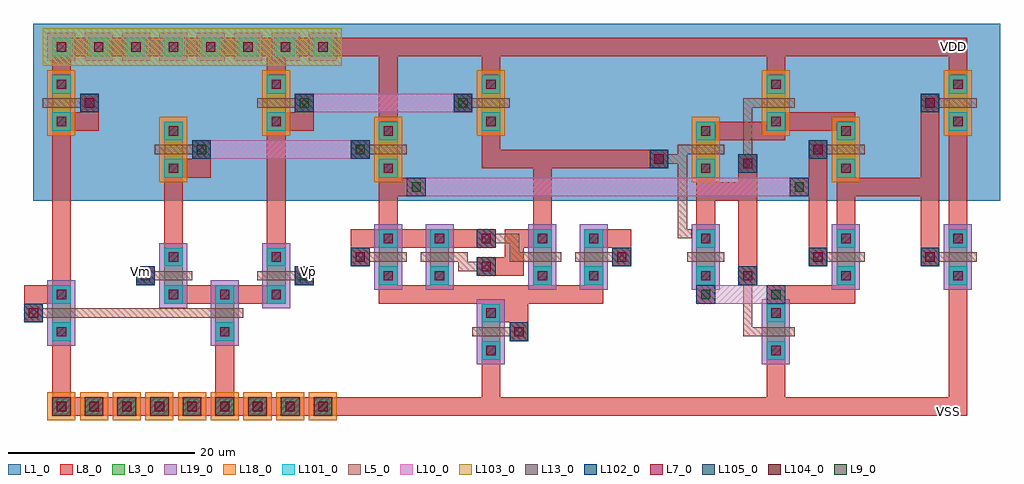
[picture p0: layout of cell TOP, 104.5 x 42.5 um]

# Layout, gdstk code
from math import pi, radians
import gdstk
lib = gdstk.Library(unit=1e-6, precision=1e-09)
def R(c, l, rs):  # rectangles x0, y0, x1, y1
    for r in rs: c.add(gdstk.rectangle(r[:2], r[2:], *l))
def A(c, l, x, y, w, h, nx, ny, dx, dy):  # array of equal rectangles
    R(c, l, [(x+i*dx, y+j*dy, x+i*dx+w, y+j*dy+h) for i in range(nx) for j in range(ny)])
L1_0 = (1, 0)
L3_0 = (3, 0)
L5_0 = (5, 0)
L7_0 = (7, 0)
L8_0 = (8, 0)
L9_0 = (9, 0)
L10_0 = (10, 0)
L13_0 = (13, 0)
L18_0 = (18, 0)
L19_0 = (19, 0)
L101_0 = (101, 0)
L102_0 = (102, 0)
L103_0 = (103, 0)
L104_0 = (104, 0)
L105_0 = (105, 0)

dcont = lib.new_cell('dcont')
R(dcont, L3_0, [(-1,-1,1,1)])
R(dcont, L7_0, [(-0.5,-0.5,0.5,0.5)])
R(dcont, L8_0, [(-1,-1,1,1)])
R(dcont, L13_0, [(-0.5,-0.5,0.5,0.5)])
R(dcont, L101_0, [(-1,-1,1,1)])
dcont.add(gdstk.Label('dcont', (0,0), layer=13, texttype=0))

pcont = lib.new_cell('pcont')
R(pcont, L5_0, [(-1,-1,1,1)])
R(pcont, L7_0, [(-0.5,-0.5,0.5,0.5)])
R(pcont, L8_0, [(-1,-1,1,1)])
R(pcont, L13_0, [(-0.5,-0.5,0.5,0.5)])
R(pcont, L102_0, [(-1,-1,1,1)])
pcont.add(gdstk.Label('pcont', (0,0), layer=13, texttype=0))

nsubcont = lib.new_cell('nsubcont')
R(nsubcont, L1_0, [(-2,-2,2,2)])
R(nsubcont, L19_0, [(-1.5,-1.5,1.5,1.5)])
R(nsubcont, L103_0, [(-2,-2,2,2)])
nsubcont.add(gdstk.Reference(dcont, (0,0)))
nsubcont.add(gdstk.Label('NScont', (0,0), layer=13, texttype=0))

psubcont = lib.new_cell('psubcont')
R(psubcont, L18_0, [(-1.5,-1.5,1.5,1.5)])
R(psubcont, L104_0, [(-1,-1,1,1)])
psubcont.add(gdstk.Reference(dcont, (0,0)))
psubcont.add(gdstk.Label('PScon', (0,0), layer=13, texttype=0))

via = lib.new_cell('Via')
R(via, L8_0, [(-1,-1,1,1)])
R(via, L9_0, [(-0.5,-0.5,0.5,0.5)])
R(via, L10_0, [(-1,-1,1,1)])
R(via, L13_0, [(-0.5,-0.5,0.5,0.5)])
R(via, L105_0, [(-1,-1,1,1)])
via.add(gdstk.Label('via', (0,0), layer=13, texttype=0))

top = lib.new_cell('TOP')
R(top, L1_0, [(-1,63,102.5,82)])
A(top, L3_0, 1, 70.5, 2, 6, 3, 1, 23, 0)
R(top, L3_0, [(47,46,49,52), (77.5,46,79.5,52), (1,48,3,54), (18.5,48,20.5,54), (13,52,15,58), (24,52,26,58), (36,54,38,60), (41.5,54,43.5,60), (52.5,54,54.5,60), (58,54,60,60), (70,54,72,60), (85,54,87,60), (97,54,99,60), (13,65.5,15,71.5), (36,65.5,38,71.5), (70,65.5,72,71.5), (85,65.5,87,71.5), (77.5,70.5,79.5,76.5), (97,70.5,99,76.5)])
R(top, L8_0, [(1,40,35,42), (1,42,3,48), (18.5,42,20.5,48), (-2,52,1,54), (15,52,18.5,54), (20.5,52,24,54), (1,54,3,58), (1,60.5,3,70.5), (13,60.5,15,65.5), (24,60.5,26,70.5), (15,65.5,18,67.5), (3,70.5,6,72.5), (26,70.5,29,72.5), (1,76.5,3,78.5), (24,76.5,26,78.5), (1,78.5,35.5,80.5)])
A(top, L18_0, 0.5, 70, 3, 7, 3, 1, 23, 0)
R(top, L18_0, [(12.5,65,15.5,72), (35.5,65,38.5,72), (69.5,65,72.5,72), (84.5,65,87.5,72), (77,70,80,77), (96.5,70,99.5,77)])
R(top, L19_0, [(46.5,45.5,49.5,52.5), (77,45.5,80,52.5), (0.5,47.5,3.5,54.5), (18,47.5,21,54.5), (12.5,51.5,15.5,58.5), (23.5,51.5,26.5,58.5), (35.5,53.5,38.5,60.5), (41,53.5,44,60.5), (52,53.5,55,60.5), (57.5,53.5,60.5,60.5), (69.5,53.5,72.5,60.5), (84.5,53.5,87.5,60.5), (96.5,53.5,99.5,60.5)])
top.add(gdstk.FlexPath([(75.5,66),(75.5,56)], 2, ends="flush", simple_path=True, layer=8, datatype=0))  # L8_0
top.add(gdstk.FlexPath([(60,59),(63,59)], 2, ends="flush", simple_path=True, layer=8, datatype=0))  # L8_0
top.add(gdstk.FlexPath([(78.5,52),(78.5,53),(87,53)], 2, ends="flush", simple_path=True, layer=8, datatype=0))  # L8_0
top.add(gdstk.FlexPath([(49,41),(78.5,41),(78.5,46)], 2, ends="flush", simple_path=True, layer=8, datatype=0))  # L8_0
top.add(gdstk.FlexPath([(79.5,41),(98,41),(98,54)], 2, ends="flush", simple_path=True, layer=8, datatype=0))  # L8_0
top.add(gdstk.FlexPath([(38,59),(41.5,59)], 2, ends="flush", simple_path=True, layer=8, datatype=0))  # L8_0
top.add(gdstk.FlexPath([(36,59),(33,59)], 2, ends="flush", simple_path=True, layer=8, datatype=0))  # L8_0
top.add(gdstk.FlexPath([(48.5,56),(50.5,56),(50.5,59),(52.5,59)], 2, ends="flush", simple_path=True, layer=8, datatype=0))  # L8_0
top.add(gdstk.FlexPath([(43.5,59),(46.5,59)], 2, ends="flush", simple_path=True, layer=8, datatype=0))  # L8_0
top.add(gdstk.FlexPath([(36,53),(60,53)], 2, ends="flush", simple_path=True, layer=8, datatype=0))  # L8_0
top.add(gdstk.FlexPath([(49,51),(52,51)], 2, ends="flush", simple_path=True, layer=8, datatype=0))  # L8_0
top.add(gdstk.FlexPath([(35,41),(48,41),(48,46)], 2, ends="flush", simple_path=True, layer=8, datatype=0))  # L8_0
top.add(gdstk.FlexPath([(2,60.5),(2,58),(2,58),(2,58)], 2, ends="flush", simple_path=True, layer=8, datatype=0))  # L8_0
top.add(gdstk.FlexPath([(14,60.5),(14,58)], 2, ends="flush", simple_path=True, layer=8, datatype=0))  # L8_0
top.add(gdstk.FlexPath([(25,60.5),(25,58),(25,58),(25,58)], 2, ends="flush", simple_path=True, layer=8, datatype=0))  # L8_0
top.add(gdstk.FlexPath([(37,62.5),(37,60)], 2, ends="flush", simple_path=True, layer=8, datatype=0))  # L8_0
top.add(gdstk.FlexPath([(53.5,62.5),(53.5,60)], 2, ends="flush", simple_path=True, layer=8, datatype=0))  # L8_0
top.add(gdstk.FlexPath([(71,62.5),(71,60)], 2, ends="flush", simple_path=True, layer=8, datatype=0))  # L8_0
top.add(gdstk.FlexPath([(83,60.5),(83,58)], 2, ends="flush", simple_path=True, layer=8, datatype=0))  # L8_0
top.add(gdstk.FlexPath([(86,62.5),(86,59.5),(86,59.5)], 2, ends="flush", simple_path=True, layer=8, datatype=0))  # L8_0
top.add(gdstk.FlexPath([(95,60.5),(95,58)], 2, ends="flush", simple_path=True, layer=8, datatype=0))  # L8_0
top.add(gdstk.FlexPath([(98,62.5),(98,60)], 2, ends="flush", simple_path=True, layer=8, datatype=0))  # L8_0
top.add(gdstk.FlexPath([(38,64.5),(39,64.5),(39,64.5)], 2, ends="flush", simple_path=True, layer=8, datatype=0))  # L8_0
top.add(gdstk.FlexPath([(83,67.5),(83,60.5)], 2, ends="flush", simple_path=True, layer=8, datatype=0))  # L8_0
top.add(gdstk.FlexPath([(95,72.5),(95,60.5)], 2, ends="flush", simple_path=True, layer=8, datatype=0))  # L8_0
top.add(gdstk.FlexPath([(87,64.5),(94,64.5)], 2, ends="flush", simple_path=True, layer=8, datatype=0))  # L8_0
top.add(gdstk.FlexPath([(48,70.5),(48,67.5),(53.5,67.5),(53.5,62.5)], 2, ends="flush", simple_path=True, layer=8, datatype=0))  # L8_0
top.add(gdstk.FlexPath([(54.5,67.5),(65,67.5)], 2, ends="flush", simple_path=True, layer=8, datatype=0))  # L8_0
top.add(gdstk.FlexPath([(72,70.5),(79.5,70.5)], 2, ends="flush", simple_path=True, layer=8, datatype=0))  # L8_0
top.add(gdstk.FlexPath([(49,79.5),(78.5,79.5),(78.5,76.5)], 2, ends="flush", simple_path=True, layer=8, datatype=0))  # L8_0
top.add(gdstk.FlexPath([(71,65.5),(71,62.5)], 2, ends="flush", simple_path=True, layer=8, datatype=0))  # L8_0
top.add(gdstk.FlexPath([(72,64),(74.5,64)], 2, ends="flush", simple_path=True, layer=8, datatype=0))  # L8_0
top.add(gdstk.FlexPath([(86,65.5),(86,62.5)], 2, ends="flush", simple_path=True, layer=8, datatype=0))  # L8_0
top.add(gdstk.FlexPath([(79.5,71.5),(87,71.5)], 2, ends="flush", simple_path=True, layer=8, datatype=0))  # L8_0
top.add(gdstk.FlexPath([(79.5,79.5),(98,79.5),(98,76.5)], 2, ends="flush", simple_path=True, layer=8, datatype=0))  # L8_0
top.add(gdstk.FlexPath([(98,70.5),(98,62.5)], 2, ends="flush", simple_path=True, layer=8, datatype=0))  # L8_0
top.add(gdstk.FlexPath([(37,71.5),(37,80.5)], 2, ends="flush", simple_path=True, layer=8, datatype=0))  # L8_0
top.add(gdstk.FlexPath([(35.5,79.5),(48,79.5),(48,76.5)], 2, ends="flush", simple_path=True, layer=8, datatype=0))  # L8_0
top.add(gdstk.FlexPath([(37,65.5),(37,62.5),(37,62.5)], 2, ends="flush", simple_path=True, layer=8, datatype=0))  # L8_0
top.add(gdstk.FlexPath([(76.5,73.5),(75.5,73.5),(75.5,68)], 1, ends="flush", simple_path=True, layer=5, datatype=0))  # L5_0
top.add(gdstk.FlexPath([(75.5,55.5),(75.5,49),(76.5,49)], 1, ends="flush", simple_path=True, layer=5, datatype=0))  # L5_0
top.add(gdstk.FlexPath([(96,57),(100,57)], 1, ends="flush", simple_path=True, layer=5, datatype=0))  # L5_0
top.add(gdstk.FlexPath([(84,57),(88,57)], 1, ends="flush", simple_path=True, layer=5, datatype=0))  # L5_0
top.add(gdstk.FlexPath([(76.5,49),(80.5,49)], 1, ends="flush", simple_path=True, layer=5, datatype=0))  # L5_0
top.add(gdstk.FlexPath([(69,57),(73,57)], 1, ends="flush", simple_path=True, layer=5, datatype=0))  # L5_0
top.add(gdstk.FlexPath([(57,57),(61,57)], 1, ends="flush", simple_path=True, layer=5, datatype=0))  # L5_0
top.add(gdstk.FlexPath([(51.5,57),(55.5,57)], 1, ends="flush", simple_path=True, layer=5, datatype=0))  # L5_0
top.add(gdstk.FlexPath([(46,49),(50,49)], 1, ends="flush", simple_path=True, layer=5, datatype=0))  # L5_0
top.add(gdstk.FlexPath([(40.5,57),(44.5,57)], 1, ends="flush", simple_path=True, layer=5, datatype=0))  # L5_0
top.add(gdstk.FlexPath([(35,57),(39,57)], 1, ends="flush", simple_path=True, layer=5, datatype=0))  # L5_0
top.add(gdstk.FlexPath([(0,51),(4,51)], 1, ends="flush", simple_path=True, layer=5, datatype=0))  # L5_0
top.add(gdstk.FlexPath([(4,51),(17.5,51)], 1, ends="flush", simple_path=True, layer=5, datatype=0))  # L5_0
top.add(gdstk.FlexPath([(47,56),(45,56),(45,57.5)], 1, ends="flush", simple_path=True, layer=5, datatype=0))  # L5_0
top.add(gdstk.FlexPath([(48.5,59),(50.5,59),(50.5,57),(51.5,57)], 1, ends="flush", simple_path=True, layer=5, datatype=0))  # L5_0
top.add(gdstk.FlexPath([(23,55),(27,55)], 1, ends="flush", simple_path=True, layer=5, datatype=0))  # L5_0
top.add(gdstk.FlexPath([(17.5,51),(21.5,51)], 1, ends="flush", simple_path=True, layer=5, datatype=0))  # L5_0
top.add(gdstk.FlexPath([(12,55),(16,55)], 1, ends="flush", simple_path=True, layer=5, datatype=0))  # L5_0
top.add(gdstk.FlexPath([(4,73.5),(0,73.5),(0,73.5)], 1, ends="flush", simple_path=True, layer=5, datatype=0))  # L5_0
top.add(gdstk.FlexPath([(69.5,68.5),(68.5,68.5),(68.5,67.5),(67.5,67.5)], 1, ends="flush", simple_path=True, layer=5, datatype=0))  # L5_0
top.add(gdstk.FlexPath([(68.5,67),(68.5,59.5),(69.5,59.5)], 1, ends="flush", simple_path=True, layer=5, datatype=0))  # L5_0
top.add(gdstk.FlexPath([(67.5,67.5),(67,67.5)], 1, ends="flush", simple_path=True, layer=5, datatype=0))  # L5_0
top.add(gdstk.FlexPath([(76.5,73.5),(80.5,73.5)], 1, ends="flush", simple_path=True, layer=5, datatype=0))  # L5_0
top.add(gdstk.FlexPath([(96,73.5),(100,73.5)], 1, ends="flush", simple_path=True, layer=5, datatype=0))  # L5_0
top.add(gdstk.FlexPath([(84,68.5),(88,68.5)], 1, ends="flush", simple_path=True, layer=5, datatype=0))  # L5_0
top.add(gdstk.FlexPath([(69,68.5),(73,68.5)], 1, ends="flush", simple_path=True, layer=5, datatype=0))  # L5_0
top.add(gdstk.FlexPath([(46,73.5),(50,73.5)], 1, ends="flush", simple_path=True, layer=5, datatype=0))  # L5_0
top.add(gdstk.FlexPath([(35,68.5),(39,68.5)], 1, ends="flush", simple_path=True, layer=5, datatype=0))  # L5_0
top.add(gdstk.FlexPath([(23,73.5),(27,73.5)], 1, ends="flush", simple_path=True, layer=5, datatype=0))  # L5_0
top.add(gdstk.FlexPath([(12,68.5),(16,68.5)], 1, ends="flush", simple_path=True, layer=5, datatype=0))  # L5_0
top.add(gdstk.FlexPath([(29,73.5),(44,73.5)], 2, ends="flush", simple_path=True, layer=10, datatype=0))  # L10_0
top.add(gdstk.FlexPath([(18,68.5),(33,68.5)], 2, ends="flush", simple_path=True, layer=10, datatype=0))  # L10_0
top.add(gdstk.FlexPath([(72,53),(77.5,53)], 2, ends="flush", simple_path=True, layer=10, datatype=0))  # L10_0
top.add(gdstk.FlexPath([(41,64.5),(80,64.5)], 2, ends="flush", simple_path=True, layer=10, datatype=0))  # L10_0
top.add(gdstk.Reference(dcont, (98,55), rotation=pi))
top.add(gdstk.Reference(pcont, (95,57), rotation=pi))
top.add(gdstk.Reference(dcont, (98,71.5), rotation=pi))
top.add(gdstk.Reference(pcont, (95,73.5), rotation=pi))
top.add(gdstk.Reference(dcont, (86,55), rotation=pi))
top.add(gdstk.Reference(pcont, (83,57), rotation=pi))
top.add(gdstk.Reference(dcont, (86,66.5), rotation=pi))
top.add(gdstk.Reference(dcont, (78.5,47), rotation=pi))
top.add(gdstk.Reference(pcont, (75.5,55), rotation=pi))
top.add(gdstk.Reference(dcont, (78.5,71.5), rotation=pi))
top.add(gdstk.Reference(pcont, (75.5,67), rotation=pi))
top.add(gdstk.Reference(dcont, (71,55), rotation=pi))
top.add(gdstk.Reference(dcont, (71,59), rotation=pi))
top.add(gdstk.Reference(dcont, (71,66.5), rotation=pi))
top.add(gdstk.Reference(dcont, (71,70.5), rotation=pi))
top.add(gdstk.Reference(dcont, (59,55), rotation=pi))
top.add(gdstk.Reference(dcont, (59,59), rotation=pi))
top.add(gdstk.Reference(pcont, (62,57), rotation=pi))
top.add(gdstk.Reference(dcont, (53.5,55), rotation=pi))
top.add(gdstk.Reference(dcont, (53.5,59), rotation=pi))
top.add(gdstk.Reference(pcont, (47.5,56), rotation=pi))
top.add(gdstk.Reference(dcont, (48,47), rotation=pi))
top.add(gdstk.Reference(dcont, (48,51), rotation=pi))
top.add(gdstk.Reference(pcont, (51,49), rotation=pi))
top.add(gdstk.Reference(pcont, (45,73.5), rotation=pi))
top.add(gdstk.Reference(dcont, (42.5,55), rotation=pi))
top.add(gdstk.Reference(dcont, (37,59), rotation=pi))
top.add(gdstk.Reference(pcont, (34,57), rotation=pi))
top.add(gdstk.Reference(pcont, (34,68.5), rotation=pi))
top.add(gdstk.Reference(dcont, (25,53), rotation=pi))
top.add(gdstk.Reference(dcont, (19.5,49), rotation=pi))
top.add(gdstk.Reference(dcont, (19.5,53), rotation=pi))
top.add(gdstk.Reference(dcont, (14,53), rotation=pi))
top.add(gdstk.Reference(pcont, (11,55), rotation=pi))
top.add(gdstk.Reference(dcont, (2,49), rotation=pi))
top.add(gdstk.Reference(pcont, (-1,51), rotation=pi))
top.add(gdstk.Reference(pcont, (5,73.5), rotation=pi))
top.add(gdstk.Reference(pcont, (17,68.5), rotation=pi))
top.add(gdstk.Reference(pcont, (5,73.5), rotation=pi))
top.add(gdstk.Reference(nsubcont, (2,79.5)))
top.add(gdstk.Reference(dcont, (14,66.5), rotation=pi))
top.add(gdstk.Reference(pcont, (47.5,59), rotation=pi))
top.add(gdstk.Reference(nsubcont, (6,79.5)))
top.add(gdstk.Reference(nsubcont, (10,79.5)))
top.add(gdstk.Reference(nsubcont, (14,79.5)))
top.add(gdstk.Reference(nsubcont, (30,79.5)))
top.add(gdstk.Reference(nsubcont, (22,79.5)))
top.add(gdstk.Reference(nsubcont, (26,79.5)))
top.add(gdstk.Reference(nsubcont, (18,79.5)))
top.add(gdstk.Reference(psubcont, (5.5,41)))
top.add(gdstk.Reference(psubcont, (9,41)))
top.add(gdstk.Reference(psubcont, (19.5,41)))
top.add(gdstk.Reference(psubcont, (16,41)))
top.add(gdstk.Reference(psubcont, (12.5,41)))
top.add(gdstk.Reference(psubcont, (23,41)))
top.add(gdstk.Reference(psubcont, (30,41)))
top.add(gdstk.Reference(psubcont, (26.5,41)))
top.add(gdstk.Reference(psubcont, (2,41)))
top.add(gdstk.Reference(pcont, (66,67.5), rotation=pi))
top.add(gdstk.Reference(pcont, (83,68.5), rotation=pi))
top.add(gdstk.Reference(via, (40,64.5), rotation=pi))
top.add(gdstk.Reference(via, (81,64.5), rotation=pi))
top.add(gdstk.Reference(via, (78.5,53), rotation=pi))
top.add(gdstk.Reference(via, (71,53), rotation=pi))
top.add(gdstk.Reference(via, (11,55), rotation=pi))
top.add(gdstk.Reference(dcont, (2,75.5), rotation=pi))
top.add(gdstk.Reference(dcont, (2,71.5), rotation=pi))
top.add(gdstk.Reference(dcont, (14,70.5), rotation=pi))
top.add(gdstk.Reference(pcont, (28,73.5), rotation=pi))
top.add(gdstk.Reference(dcont, (25,71.5), rotation=pi))
top.add(gdstk.Reference(dcont, (25,75.5), rotation=pi))
top.add(gdstk.Reference(dcont, (14,57), rotation=pi))
top.add(gdstk.Reference(pcont, (28,55), rotation=pi))
top.add(gdstk.Reference(via, (28,55), rotation=pi))
top.add(gdstk.Reference(dcont, (25,57), rotation=pi))
top.add(gdstk.Reference(dcont, (2,53), rotation=pi))
top.add(gdstk.Reference(dcont, (37,66.5), rotation=pi))
top.add(gdstk.Reference(dcont, (37,70.5), rotation=pi))
top.add(gdstk.Reference(dcont, (48,71.5), rotation=pi))
top.add(gdstk.Reference(dcont, (48,75.5), rotation=pi))
top.add(gdstk.Reference(dcont, (37,55), rotation=pi))
top.add(gdstk.Reference(dcont, (42.5,59), rotation=pi))
top.add(gdstk.Reference(dcont, (78.5,75.5), rotation=pi))
top.add(gdstk.Reference(dcont, (86,70.5), rotation=pi))
top.add(gdstk.Reference(dcont, (86,59), rotation=pi))
top.add(gdstk.Reference(dcont, (78.5,51), rotation=pi))
top.add(gdstk.Reference(dcont, (98,75.5), rotation=pi))
top.add(gdstk.Reference(dcont, (98,59), rotation=pi))
top.add(gdstk.Reference(via, (28,73.5), rotation=pi))
top.add(gdstk.Reference(via, (17,68.5), rotation=pi))
top.add(gdstk.Reference(via, (34,68.5), rotation=pi))
top.add(gdstk.Reference(via, (45,73.5), rotation=pi))
top.add(gdstk.Label('VSS', (97,40.5), layer=8, texttype=0))
top.add(gdstk.Label('VDD', (97.5,79.5), layer=8, texttype=0))
top.add(gdstk.Label('Vm', (10.5,55.5), layer=10, texttype=0))
top.add(gdstk.Label('Vp', (28.5,55.5), layer=10, texttype=0))

lib.write_gds('TOP.gds')
